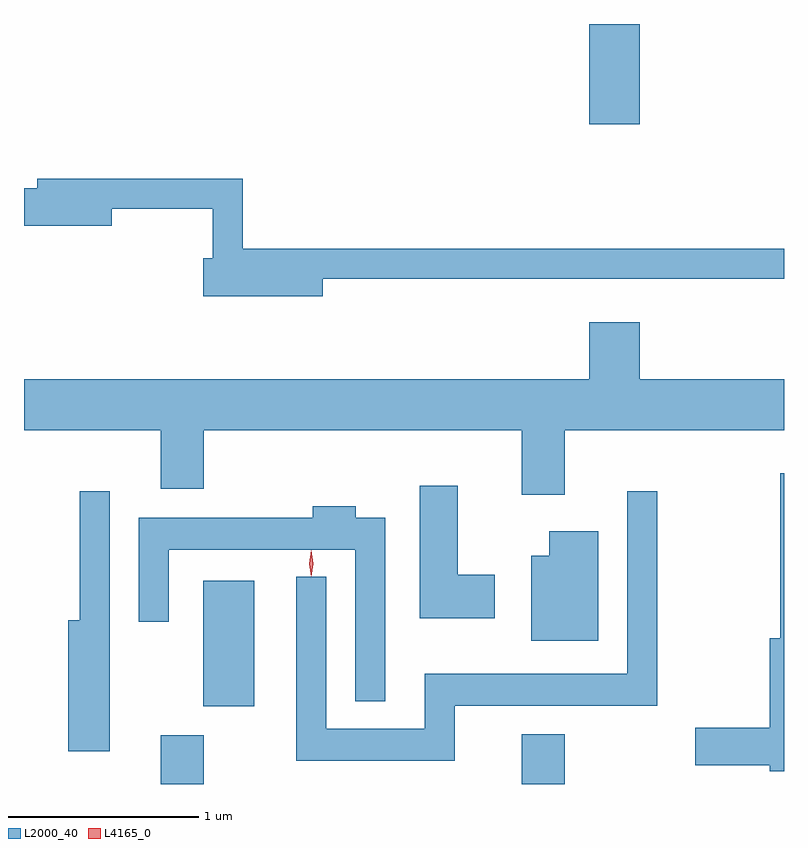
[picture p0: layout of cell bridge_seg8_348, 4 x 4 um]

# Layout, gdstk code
import gdstk
lib = gdstk.Library(unit=1e-6, precision=1e-09)
def R(c, l, rs):  # rectangles x0, y0, x1, y1
    for r in rs: c.add(gdstk.rectangle(r[:2], r[2:], *l))
def P(c, l, *ps):  # polygons
    for p in ps: c.add(gdstk.Polygon(p, *l))
L2000_40 = (2000, 40)
L4165_0 = (4165, 0)

bridge_seg8_348 = lib.new_cell('bridge_seg8_348')
R(bridge_seg8_348, L2000_40, [(732.301,1918.913,732.529,1919.169), (734.201,1918.913,734.429,1919.174), (732.526,1919.321,732.794,1919.984), (734.556,1922.386,734.824,1922.913)])
P(bridge_seg8_348, L2000_40, [(733.154,1921.571),(735.582,1921.571),(735.582,1921.729),(732.734,1921.729),(732.734,1922.099),(731.651,1922.099),(731.651,1922.049),(731.582,1922.049),(731.582,1921.851),(732.044,1921.851),(732.044,1921.941),(732.576,1921.941),(732.576,1921.679),(732.526,1921.679),(732.526,1921.481),(733.154,1921.481)],
  [(734.429,1920.776),(735.582,1920.776),(735.582,1921.044),(734.824,1921.044),(734.824,1921.344),(734.556,1921.344),(734.556,1921.044),(731.582,1921.044),(731.582,1920.776),(732.301,1920.776),(732.301,1920.466),(732.529,1920.466),(732.529,1920.776),(734.201,1920.776),(734.201,1920.436),(734.429,1920.436)],
  [(735.582,1920.549),(735.561,1920.549),(735.561,1919.679),(735.506,1919.679),(735.506,1919.209),(735.116,1919.209),(735.116,1919.011),(735.506,1919.011),(735.506,1918.981),(735.582,1918.981)],
  [(734.059,1920.014),(733.864,1920.014),(733.864,1920.484),(733.666,1920.484),(733.666,1919.786),(734.059,1919.786)],
  [(732.034,1920.453),(731.876,1920.453),(731.876,1919.774),(731.816,1919.774),(731.816,1919.086),(732.034,1919.086)],
  [(733.849,1919.326),(734.914,1919.326),(734.914,1920.453),(734.756,1920.453),(734.756,1919.494),(733.691,1919.494),(733.691,1919.204),(733.174,1919.204),(733.174,1920.003),(733.016,1920.003),(733.016,1919.036),(733.849,1919.036)],
  [(733.484,1920.314),(733.329,1920.314),(733.329,1920.374),(733.101,1920.374),(733.101,1920.314),(732.186,1920.314),(732.186,1919.768),(732.344,1919.768),(732.344,1920.146),(733.326,1920.146),(733.326,1919.348),(733.484,1919.348)],
  [(734.604,1920.244),(734.346,1920.244),(734.346,1920.114),(734.251,1920.114),(734.251,1919.666),(734.604,1919.666)])
P(bridge_seg8_348, L4165_0, [(733.094,1920.004),(733.094,1920.004),(733.084,1920.073),(733.094,1920.142),(733.094,1920.143),(733.095,1920.142),(733.104,1920.073),(733.095,1920.004)])

lib.write_gds('bridge_seg8_348.gds')
